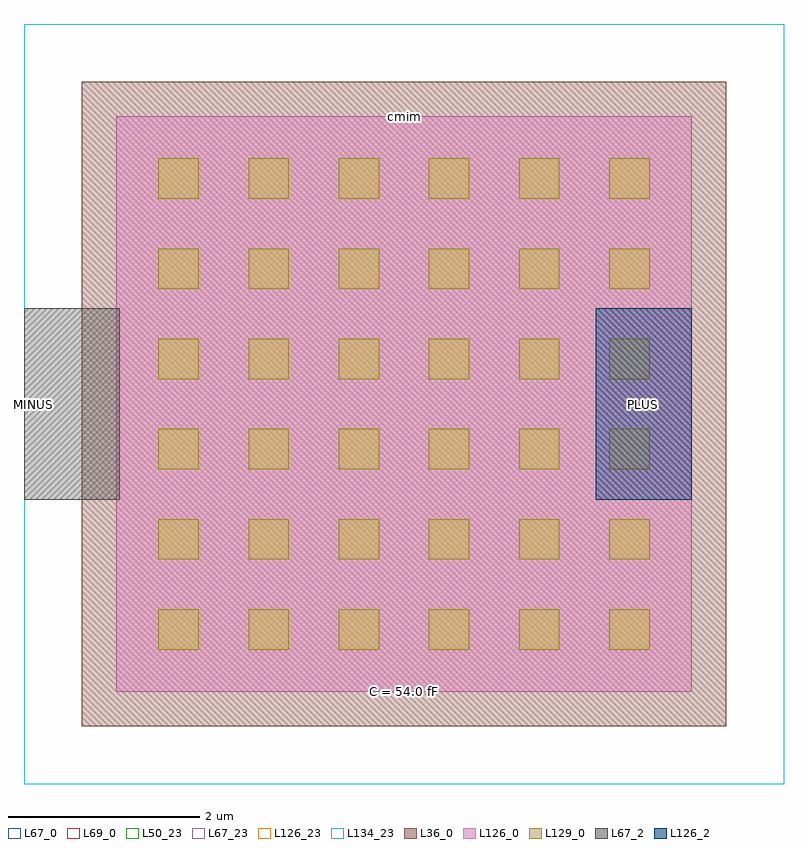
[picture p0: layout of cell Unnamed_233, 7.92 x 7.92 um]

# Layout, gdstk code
import gdstk
lib = gdstk.Library(unit=1e-6, precision=1e-09)
def R(c, l, rs):  # rectangles x0, y0, x1, y1
    for r in rs: c.add(gdstk.rectangle(r[:2], r[2:], *l))
L36_0 = (36, 0)
L50_23 = (50, 23)
L67_0 = (67, 0)
L67_2 = (67, 2)
L67_23 = (67, 23)
L69_0 = (69, 0)
L126_0 = (126, 0)
L126_2 = (126, 2)
L126_23 = (126, 23)
L129_0 = (129, 0)
L134_23 = (134, 23)

rectangle_gdsfactorypcom = lib.new_cell('rectangle_gdsfactorypcomponentspshapesprectangle_S7p92__2f53f460')
R(rectangle_gdsfactorypcom, L67_0, [(-3.96,-3.96,3.96,3.96)])

c_rectangle_gdsfactorypcom = lib.new_cell('rectangle_gdsfactorypcomponentspshapesprectangle_S6p72__84c52099')
R(c_rectangle_gdsfactorypcom, L36_0, [(-3.36,-3.36,3.36,3.36)])

c_rectangle_gdsfactorypcom_ = lib.new_cell('rectangle_gdsfactorypcomponentspshapesprectangle_S6_6_L_617c6e3a')
R(c_rectangle_gdsfactorypcom_, L126_0, [(-3,-3,3,3)])

c_rectangle_gdsfactorypcom__ = lib.new_cell('rectangle_gdsfactorypcomponentspshapesprectangle_S0p42__b20b6c6c')
R(c_rectangle_gdsfactorypcom__, L129_0, [(0,0,0.42,0.42)])

via_array_vtvmim_c6_r6_v = lib.new_cell('via_array_VTVmim_C6_R6_VS0p42_VS0p94_VE0p42_LCContdrawi_f9908038')
via_array_vtvmim_c6_r6_v.add(gdstk.Reference(c_rectangle_gdsfactorypcom__, (0,0)))
via_array_vtvmim_c6_r6_v.add(gdstk.Reference(c_rectangle_gdsfactorypcom__, (0,0.94)))
via_array_vtvmim_c6_r6_v.add(gdstk.Reference(c_rectangle_gdsfactorypcom__, (0,1.88)))
via_array_vtvmim_c6_r6_v.add(gdstk.Reference(c_rectangle_gdsfactorypcom__, (0,2.82)))
via_array_vtvmim_c6_r6_v.add(gdstk.Reference(c_rectangle_gdsfactorypcom__, (0,3.76)))
via_array_vtvmim_c6_r6_v.add(gdstk.Reference(c_rectangle_gdsfactorypcom__, (0,4.7)))
via_array_vtvmim_c6_r6_v.add(gdstk.Reference(c_rectangle_gdsfactorypcom__, (0.94,0)))
via_array_vtvmim_c6_r6_v.add(gdstk.Reference(c_rectangle_gdsfactorypcom__, (0.94,0.94)))
via_array_vtvmim_c6_r6_v.add(gdstk.Reference(c_rectangle_gdsfactorypcom__, (0.94,1.88)))
via_array_vtvmim_c6_r6_v.add(gdstk.Reference(c_rectangle_gdsfactorypcom__, (0.94,2.82)))
via_array_vtvmim_c6_r6_v.add(gdstk.Reference(c_rectangle_gdsfactorypcom__, (0.94,3.76)))
via_array_vtvmim_c6_r6_v.add(gdstk.Reference(c_rectangle_gdsfactorypcom__, (0.94,4.7)))
via_array_vtvmim_c6_r6_v.add(gdstk.Reference(c_rectangle_gdsfactorypcom__, (1.88,0)))
via_array_vtvmim_c6_r6_v.add(gdstk.Reference(c_rectangle_gdsfactorypcom__, (1.88,0.94)))
via_array_vtvmim_c6_r6_v.add(gdstk.Reference(c_rectangle_gdsfactorypcom__, (1.88,1.88)))
via_array_vtvmim_c6_r6_v.add(gdstk.Reference(c_rectangle_gdsfactorypcom__, (1.88,2.82)))
via_array_vtvmim_c6_r6_v.add(gdstk.Reference(c_rectangle_gdsfactorypcom__, (1.88,3.76)))
via_array_vtvmim_c6_r6_v.add(gdstk.Reference(c_rectangle_gdsfactorypcom__, (1.88,4.7)))
via_array_vtvmim_c6_r6_v.add(gdstk.Reference(c_rectangle_gdsfactorypcom__, (2.82,0)))
via_array_vtvmim_c6_r6_v.add(gdstk.Reference(c_rectangle_gdsfactorypcom__, (2.82,0.94)))
via_array_vtvmim_c6_r6_v.add(gdstk.Reference(c_rectangle_gdsfactorypcom__, (2.82,1.88)))
via_array_vtvmim_c6_r6_v.add(gdstk.Reference(c_rectangle_gdsfactorypcom__, (2.82,2.82)))
via_array_vtvmim_c6_r6_v.add(gdstk.Reference(c_rectangle_gdsfactorypcom__, (2.82,3.76)))
via_array_vtvmim_c6_r6_v.add(gdstk.Reference(c_rectangle_gdsfactorypcom__, (2.82,4.7)))
via_array_vtvmim_c6_r6_v.add(gdstk.Reference(c_rectangle_gdsfactorypcom__, (3.76,0)))
via_array_vtvmim_c6_r6_v.add(gdstk.Reference(c_rectangle_gdsfactorypcom__, (3.76,0.94)))
via_array_vtvmim_c6_r6_v.add(gdstk.Reference(c_rectangle_gdsfactorypcom__, (3.76,1.88)))
via_array_vtvmim_c6_r6_v.add(gdstk.Reference(c_rectangle_gdsfactorypcom__, (3.76,2.82)))
via_array_vtvmim_c6_r6_v.add(gdstk.Reference(c_rectangle_gdsfactorypcom__, (3.76,3.76)))
via_array_vtvmim_c6_r6_v.add(gdstk.Reference(c_rectangle_gdsfactorypcom__, (3.76,4.7)))
via_array_vtvmim_c6_r6_v.add(gdstk.Reference(c_rectangle_gdsfactorypcom__, (4.7,0)))
via_array_vtvmim_c6_r6_v.add(gdstk.Reference(c_rectangle_gdsfactorypcom__, (4.7,0.94)))
via_array_vtvmim_c6_r6_v.add(gdstk.Reference(c_rectangle_gdsfactorypcom__, (4.7,1.88)))
via_array_vtvmim_c6_r6_v.add(gdstk.Reference(c_rectangle_gdsfactorypcom__, (4.7,2.82)))
via_array_vtvmim_c6_r6_v.add(gdstk.Reference(c_rectangle_gdsfactorypcom__, (4.7,3.76)))
via_array_vtvmim_c6_r6_v.add(gdstk.Reference(c_rectangle_gdsfactorypcom__, (4.7,4.7)))

c_rectangle_gdsfactorypcom___ = lib.new_cell('rectangle_gdsfactorypcomponentspshapesprectangle_S7p92__94a7ff8e')
R(c_rectangle_gdsfactorypcom___, L69_0, [(-3.96,-3.96,3.96,3.96)])

c_rectangle_gdsfactorypcom____ = lib.new_cell('rectangle_gdsfactorypcomponentspshapesprectangle_S7p92__140be9b3')
R(c_rectangle_gdsfactorypcom____, L50_23, [(-3.96,-3.96,3.96,3.96)])

c_rectangle_gdsfactorypcom_____ = lib.new_cell('rectangle_gdsfactorypcomponentspshapesprectangle_S7p92__4ea18f77')
R(c_rectangle_gdsfactorypcom_____, L67_23, [(-3.96,-3.96,3.96,3.96)])

c_rectangle_gdsfactorypcom______ = lib.new_cell('rectangle_gdsfactorypcomponentspshapesprectangle_S7p92__2ec7e15c')
R(c_rectangle_gdsfactorypcom______, L126_23, [(-3.96,-3.96,3.96,3.96)])

c_rectangle_gdsfactorypcom_______ = lib.new_cell('rectangle_gdsfactorypcomponentspshapesprectangle_S7p92__59f34193')
R(c_rectangle_gdsfactorypcom_______, L134_23, [(-3.96,-3.96,3.96,3.96)])

c_rectangle_gdsfactorypcom________ = lib.new_cell('rectangle_gdsfactorypcomponentspshapesprectangle_S1_2_L_313130ad')
R(c_rectangle_gdsfactorypcom________, L67_2, [(-0.5,-1,0.5,1)])

c_rectangle_gdsfactorypcom_________ = lib.new_cell('rectangle_gdsfactorypcomponentspshapesprectangle_S1_2_L_21edbbcb')
R(c_rectangle_gdsfactorypcom_________, L126_2, [(-0.5,-1,0.5,1)])

unnamed_233 = lib.new_cell('Unnamed_233')
unnamed_233.add(gdstk.Reference(rectangle_gdsfactorypcom, (0,0)))
unnamed_233.add(gdstk.Reference(c_rectangle_gdsfactorypcom, (0,0)))
unnamed_233.add(gdstk.Reference(c_rectangle_gdsfactorypcom_, (0,0)))
unnamed_233.add(gdstk.Reference(via_array_vtvmim_c6_r6_v, (-2.56,-2.56)))
unnamed_233.add(gdstk.Reference(c_rectangle_gdsfactorypcom___, (0,0)))
unnamed_233.add(gdstk.Reference(c_rectangle_gdsfactorypcom____, (0,0)))
unnamed_233.add(gdstk.Reference(c_rectangle_gdsfactorypcom_____, (0,0)))
unnamed_233.add(gdstk.Reference(c_rectangle_gdsfactorypcom______, (0,0)))
unnamed_233.add(gdstk.Reference(c_rectangle_gdsfactorypcom_______, (0,0)))
unnamed_233.add(gdstk.Reference(c_rectangle_gdsfactorypcom________, (-3.46,0)))
unnamed_233.add(gdstk.Reference(c_rectangle_gdsfactorypcom_________, (2.5,0)))
unnamed_233.add(gdstk.Label('PLUS', (2.5,0), layer=63, texttype=0))
unnamed_233.add(gdstk.Label('MINUS', (-3.86,0), layer=63, texttype=0))
unnamed_233.add(gdstk.Label('cmim', (0,3), layer=63, texttype=0))
unnamed_233.add(gdstk.Label('C = 54.0 fF', (0,-3), layer=63, texttype=0))

lib.write_gds('Unnamed_233.gds')
